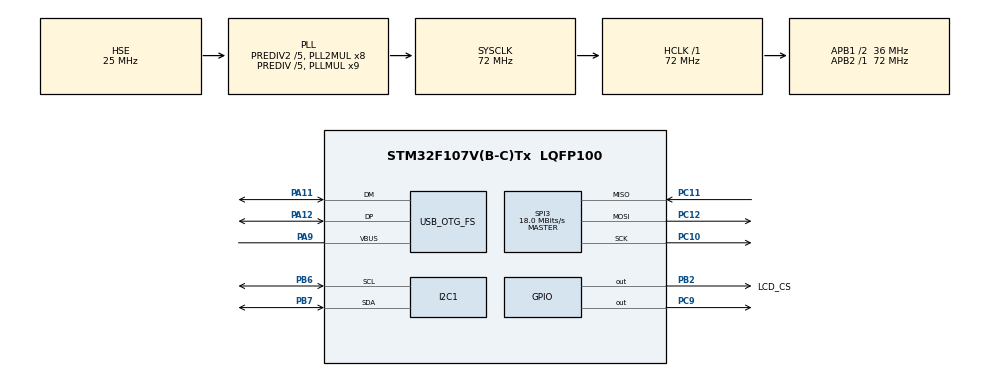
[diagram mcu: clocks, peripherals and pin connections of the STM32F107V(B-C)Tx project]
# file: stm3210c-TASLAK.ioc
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FATFS._MAX_SS=4096
I2C1.I2C_Mode=I2C_Standard
Mcu.Family=STM32F1
Mcu.Name=STM32F107V(B-C)Tx
Mcu.Package=LQFP100
NVIC.OTG_FS_IRQn=true\:0\:0\:false\:false\:true\:false\:true
NVIC.PriorityGroup=NVIC_PRIORITYGROUP_4
OSC_IN.Mode=HSE-External-Oscillator
OSC_IN.Signal=RCC_OSC_IN
OSC_OUT.Mode=HSE-External-Oscillator
OSC_OUT.Signal=RCC_OSC_OUT
PA11.Mode=Host_Only
PA11.Signal=USB_OTG_FS_DM
PA12.Mode=Host_Only
PA12.Signal=USB_OTG_FS_DP
PA13.Mode=Trace_Synchro_4bits_JTAG
PA13.Signal=SYS_JTMS-SWDIO
PA14.Mode=Trace_Synchro_4bits_JTAG
PA14.Signal=SYS_JTCK-SWCLK
PA15.Mode=Trace_Synchro_4bits_JTAG
PA15.Signal=SYS_JTDI
PA9.Mode=Activate_VBUS
PA9.Signal=USB_OTG_FS_VBUS
PB2.GPIO_Label=LCD_CS
PB2.Signal=GPIO_Output
PB3.Mode=Trace_Synchro_4bits_JTAG
PB3.Signal=SYS_JTDO
PB6.Mode=I2C
PB6.Signal=I2C1_SCL
PB7.Mode=I2C
PB7.Signal=I2C1_SDA
PC10.Mode=Full_Duplex_Master
PC10.Signal=SPI3_SCK
PC11.Mode=Full_Duplex_Master
PC11.Signal=SPI3_MISO
PC12.Mode=Full_Duplex_Master
PC12.Signal=SPI3_MOSI
PC9.Signal=GPIO_Output
PE2.Mode=Trace_Synchro_4bits_JTAG
PE2.Signal=SYS_TRACECLK
PE3.Mode=Trace_Synchro_4bits_JTAG
PE3.Signal=SYS_TRACED0
PE4.Mode=Trace_Synchro_4bits_JTAG
PE4.Signal=SYS_TRACED1
PE5.Mode=Trace_Synchro_4bits_JTAG
PE5.Signal=SYS_TRACED2
PE6.Mode=Trace_Synchro_4bits_JTAG
PE6.Signal=SYS_TRACED3
ProjectManager.HeapSize=0x200
ProjectManager.StackSize=0x400
ProjectManager.TargetToolchain=STM32CubeIDE
RCC.AHBFreq_Value=72000000
RCC.APB1CLKDivider=RCC_HCLK_DIV2
RCC.APB1Freq_Value=36000000
RCC.APB1TimFreq_Value=72000000
RCC.APB2Freq_Value=72000000
RCC.APB2TimFreq_Value=72000000
RCC.HCLKFreq_Value=72000000
RCC.HSEDivPLL=RCC_HSE_PREDIV_DIV5
RCC.HSE_VALUE=25000000
RCC.PLLMUL=RCC_PLL_MUL9
RCC.PLLSourceVirtual=RCC_PLLSOURCE_HSE
RCC.Prediv1Source=RCC_PREDIV1_SOURCE_PLL2
RCC.Prediv2=RCC_HSE_PREDIV2_DIV5
RCC.SYSCLKFreq_VALUE=72000000
RCC.SYSCLKSource=RCC_SYSCLKSOURCE_PLLCLK
RCC.USBFreq_Value=48000000
SPI3.BaudRatePrescaler=SPI_BAUDRATEPRESCALER_2
SPI3.CalculateBaudRate=18.0 MBits/s
SPI3.Direction=SPI_DIRECTION_2LINES
SPI3.Mode=SPI_MODE_MASTER
SPI3.VirtualType=VM_MASTER
USB_HOST.BSP.number=1
USB_HOST.USBH_HandleTypeDef=hUsbHostFS
USB_HOST.VirtualModeFS=Msc
USB_HOST0.BSP.STBoard=false
USB_HOST0.BSP.api=Unknown
USB_HOST0.BSP.i2caddr=0
USB_HOST0.BSP.instance=PC9
USB_HOST0.BSP.ip=GPIO
USB_HOST0.BSP.mode=Output
USB_HOST0.BSP.name=Drive_VBUS_FS
USB_HOST0.BSP.solution=PC9
USB_OTG_FS.VirtualMode=Host_Only
VP_FATFS_VS_USB.Mode=USB
VP_USB_HOST_VS_USB_HOST_MSC_FS.Mode=MSC_FS
board=custom

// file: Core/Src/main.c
/* USER CODE BEGIN Header */
/**
 ******************************************************************************
 * @file           : main.c
 * @brief          : Main program body
 ******************************************************************************
 * @attention
 *
 * <h2><center>&copy; Copyright (c) 2021 STMicroelectronics.
 * All rights reserved.</center></h2>
 *
 * This software component is licensed by ST under BSD 3-Clause license,
 * the "License"; You may not use this file except in compliance with the
 * License. You may obtain a copy of the License at:
 *                        opensource.org/licenses/BSD-3-Clause
 *
 ******************************************************************************
 */
/* USER CODE END Header */
#include "main.h"
#include "fatfs.h"
#include "usb_host.h"
#include "stm32f1xx_hal.h"
#include "lcd.h"
#include "lcd_log.h"
#include "lcd_log_conf.h"
#include "usbh_core.h"
/* USER CODE BEGIN Includes */
#include <string.h>
#include <stdbool.h>
/* USER CODE END Includes */

I2C_HandleTypeDef hi2c1;
SPI_HandleTypeDef hspi3;

/* USER CODE BEGIN PV */
//uint16_t x, y;
JOYState_TypeDef JoyStick;
uint8_t status = 0;
uint8_t count_idle = 0;
uint8_t i = 1;
char i_str[100];
extern ApplicationTypeDef Appli_state;
//FATFS varibale
FATFS myUsbFatFS;
//USB Logical path
extern char USBHPath[4]; /* USBH logical drive path */

//File IO Variables
FIL myFile;
FRESULT res;
UINT byteswritten, bytesread;
char rwtext[100];  //Read/Write buf
FILE *fp;
TCHAR file_name[100];
/* USER CODE END PV */

void SystemClock_Config(void);
static void MX_GPIO_Init(void);
static void MX_I2C1_Init(void);
static void MX_SPI3_Init(void);
void MX_USB_HOST_Process(void);

/* USER CODE BEGIN PFP */
static void USB_InitApplication(void);
void Application_State_Check(void);
void MSC_MenuProcess(void);
bool UsbTest_Write(void);
bool UsbTest_Read(void);
/* USER CODE END PFP */

int main(void)
{

  /* MCU Configuration--------------------------------------------------------*/

  /* Reset of all peripherals, Initializes the Flash interface and the Systick. */
  HAL_Init();

  /* Configure the system clock */
  SystemClock_Config();

  /* Initialize all configured peripherals */
  MX_GPIO_Init();
  MX_I2C1_Init();
  MX_SPI3_Init();
  MX_FATFS_Init();
  MX_USB_HOST_Init();
  /* USER CODE BEGIN 2 */
  USB_InitApplication();

  /* USER CODE END 2 */

  /* Infinite loop */
	while (1) {
    MX_USB_HOST_Process();

    /* USER CODE BEGIN 3 */
    Application_State_Check();
	}
  /* USER CODE END 3 */
}

void SystemClock_Config(void)
{
  RCC_OscInitTypeDef RCC_OscInitStruct = {0};
  RCC_ClkInitTypeDef RCC_ClkInitStruct = {0};
  RCC_PeriphCLKInitTypeDef PeriphClkInit = {0};

  /** Initializes the RCC Oscillators according to the specified parameters
  * in the RCC_OscInitTypeDef structure.
  */
  RCC_OscInitStruct.OscillatorType = RCC_OSCILLATORTYPE_HSE;
  RCC_OscInitStruct.HSEState = RCC_HSE_ON;
  RCC_OscInitStruct.HSEPredivValue = RCC_HSE_PREDIV_DIV5;
  RCC_OscInitStruct.HSIState = RCC_HSI_ON;
  RCC_OscInitStruct.Prediv1Source = RCC_PREDIV1_SOURCE_PLL2;
  RCC_OscInitStruct.PLL.PLLState = RCC_PLL_ON;
  RCC_OscInitStruct.PLL.PLLSource = RCC_PLLSOURCE_HSE;
  RCC_OscInitStruct.PLL.PLLMUL = RCC_PLL_MUL9;
  RCC_OscInitStruct.PLL2.PLL2State = RCC_PLL2_ON;
  RCC_OscInitStruct.PLL2.PLL2MUL = RCC_PLL2_MUL8;
  RCC_OscInitStruct.PLL2.HSEPrediv2Value = RCC_HSE_PREDIV2_DIV5;
  if (HAL_RCC_OscConfig(&RCC_OscInitStruct) != HAL_OK)
  {
    Error_Handler();
  }
  /** Initializes the CPU, AHB and APB buses clocks
  */
  RCC_ClkInitStruct.ClockType = RCC_CLOCKTYPE_HCLK|RCC_CLOCKTYPE_SYSCLK
                              |RCC_CLOCKTYPE_PCLK1|RCC_CLOCKTYPE_PCLK2;
  RCC_ClkInitStruct.SYSCLKSource = RCC_SYSCLKSOURCE_PLLCLK;
  RCC_ClkInitStruct.AHBCLKDivider = RCC_SYSCLK_DIV1;
  RCC_ClkInitStruct.APB1CLKDivider = RCC_HCLK_DIV2;
  RCC_ClkInitStruct.APB2CLKDivider = RCC_HCLK_DIV1;

  if (HAL_RCC_ClockConfig(&RCC_ClkInitStruct, FLASH_LATENCY_2) != HAL_OK)
  {
    Error_Handler();
  }
  PeriphClkInit.PeriphClockSelection = RCC_PERIPHCLK_USB;
  PeriphClkInit.UsbClockSelection = RCC_USBCLKSOURCE_PLL_DIV3;
  if (HAL_RCCEx_PeriphCLKConfig(&PeriphClkInit) != HAL_OK)
  {
    Error_Handler();
  }
  /** Configure the Systick interrupt time
  */
  __HAL_RCC_PLLI2S_ENABLE();
}

static void MX_I2C1_Init(void)
{

  hi2c1.Instance = I2C1;
  hi2c1.Init.ClockSpeed = 100000;
  hi2c1.Init.DutyCycle = I2C_DUTYCYCLE_2;
  hi2c1.Init.OwnAddress1 = 0;
  hi2c1.Init.AddressingMode = I2C_ADDRESSINGMODE_7BIT;
  hi2c1.Init.DualAddressMode = I2C_DUALADDRESS_DISABLE;
  hi2c1.Init.OwnAddress2 = 0;
  hi2c1.Init.GeneralCallMode = I2C_GENERALCALL_DISABLE;
  hi2c1.Init.NoStretchMode = I2C_NOSTRETCH_DISABLE;
  if (HAL_I2C_Init(&hi2c1) != HAL_OK)
  {
    Error_Handler();
  }

}

static void MX_SPI3_Init(void)
{

  /* SPI3 parameter configuration*/
  hspi3.Instance = SPI3;
  hspi3.Init.Mode = SPI_MODE_MASTER;
  hspi3.Init.Direction = SPI_DIRECTION_2LINES;
  hspi3.Init.DataSize = SPI_DATASIZE_8BIT;
  hspi3.Init.CLKPolarity = SPI_POLARITY_LOW;
  hspi3.Init.CLKPhase = SPI_PHASE_1EDGE;
  hspi3.Init.NSS = SPI_NSS_SOFT;
  hspi3.Init.BaudRatePrescaler = SPI_BAUDRATEPRESCALER_2;
  hspi3.Init.FirstBit = SPI_FIRSTBIT_MSB;
  hspi3.Init.TIMode = SPI_TIMODE_DISABLE;
  hspi3.Init.CRCCalculation = SPI_CRCCALCULATION_DISABLE;
  hspi3.Init.CRCPolynomial = 10;
  if (HAL_SPI_Init(&hspi3) != HAL_OK)
  {
    Error_Handler();
  }

}

static void MX_GPIO_Init(void)
{
  GPIO_InitTypeDef GPIO_InitStruct = {0};

  /* GPIO Ports Clock Enable */
  __HAL_RCC_GPIOE_CLK_ENABLE();
  __HAL_RCC_GPIOB_CLK_ENABLE();
  __HAL_RCC_GPIOC_CLK_ENABLE();
  __HAL_RCC_GPIOA_CLK_ENABLE();

  /*Configure GPIO pin Output Level */
  HAL_GPIO_WritePin(LCD_CS_GPIO_Port, LCD_CS_Pin, GPIO_PIN_RESET);

  /*Configure GPIO pin Output Level */
  HAL_GPIO_WritePin(GPIOC, GPIO_PIN_9, GPIO_PIN_RESET);

  /*Configure GPIO pin : LCD_CS_Pin */
  GPIO_InitStruct.Pin = LCD_CS_Pin;
  GPIO_InitStruct.Mode = GPIO_MODE_OUTPUT_PP;
  GPIO_InitStruct.Pull = GPIO_NOPULL;
  GPIO_InitStruct.Speed = GPIO_SPEED_FREQ_LOW;
  HAL_GPIO_Init(LCD_CS_GPIO_Port, &GPIO_InitStruct);

  /*Configure GPIO pin : PC9 */
  GPIO_InitStruct.Pin = GPIO_PIN_9;
  GPIO_InitStruct.Mode = GPIO_MODE_OUTPUT_PP;
  GPIO_InitStruct.Pull = GPIO_NOPULL;
  GPIO_InitStruct.Speed = GPIO_SPEED_FREQ_LOW;
  HAL_GPIO_Init(GPIOC, &GPIO_InitStruct);

}

/* USER CODE BEGIN 4 */
static void USB_InitApplication(void)
{
  /* Configure KEY Button */
  BSP_PB_Init(BUTTON_KEY, BUTTON_MODE_GPIO);
  /* Configure Joystick in EXTI mode */
  BSP_JOY_Init(JOY_MODE_EXTI);

  /* Configure LED1, LED2, LED3 and LED4 */
  BSP_LED_Init(LED1);
  BSP_LED_Init(LED2);
  BSP_LED_Init(LED3);
  BSP_LED_Init(LED4);

  /* Initialize the LCD */
  BSP_LCD_Init();

  /* Initialize the LCD Log module */
  LCD_LOG_Init();

  LCD_LOG_SetHeader((uint8_t *) " USB Read/Write Application");

  LCD_UsrLog("USB Host library started.\n");

  /* Initialize menu and MSC process */
  USBH_UsrLog("Starting MSC Demo");
}

void Application_State_Check(void)
{
	switch(Appli_state)
	{
		case APPLICATION_IDLE:
			if(count_idle == 0)
			LCD_UsrLog("No USB Device detected.\n");
			count_idle = 1;
		    BSP_LCD_DisplayStringAtLine(17,
		                              (uint8_t *) "Please mount a USB Flash disk...");
		    BSP_LCD_SetTextColor(LCD_COLOR_RED);
			break;

		case APPLICATION_START:
			count_idle = 0;
			if(f_mount(&myUsbFatFS, (TCHAR const*)USBHPath, 0) == FR_OK) BSP_LED_On(LED1);
			break;

		case APPLICATION_READY:
			MSC_MenuProcess();
			break;

		case APPLICATION_DISCONNECT:
			BSP_LED_Off(LED1);
		    BSP_LCD_DisplayStringAtLine(17,
		                              (uint8_t *) "Please mount a USB Flash disk...");
		    BSP_LCD_SetTextColor(LCD_COLOR_RED);
			break;
	}
}

bool UsbTest_Write(void)
{
	//Open or Create file for writing
	strcpy(file_name,"TEST");
	sprintf(i_str, "%d", i);
	strcat(file_name,i_str);
	strcat(file_name,".TXT");
	if(f_open(&myFile,(TCHAR*)file_name,FA_WRITE | FA_CREATE_ALWAYS) != FR_OK)
	{
		return 0;
	}
	//Copy test Text to my temporary read/write buffer
	sprintf(rwtext, "TEST%d.TXT -> Bu bir test dosyasidir.",i);
	//Write to text file
	res = f_write(&myFile, (const void *)rwtext, strlen(rwtext), &byteswritten);
	if((res != FR_OK) || (byteswritten == 0))
	{
		return 0;
	}
	f_close(&myFile);
	return 1; //Success
}

//2. USB test Read function
bool UsbTest_Read(void)
{
		strcpy(file_name,"TEST");
		sprintf(i_str, "%d", i);
		strcat(file_name,i_str);
		strcat(file_name,".TXT");
		//Open file for reading
		if(f_open(&myFile, (TCHAR*)file_name, FA_READ) != FR_OK)
		{
			return 0;
		}

		//Read text from files until NULL
		for(uint8_t i=0; i<100; i++)
		{
			res = f_read(&myFile, (uint8_t*)&rwtext[i], 1, &bytesread);
			if(rwtext[i] == 0x00) // NULL string
			{
				bytesread = i;
				break;
			}
		}
		LCD_UsrLog((const void *)rwtext);
		LCD_UsrLog("\n");
		i++;
		//Reading error handling
		if(bytesread==0) return 0;

		//Close file
		f_close(&myFile);
	return 1;  // success

}

void Error_Handler(void)
{
	__disable_irq();
	while (1) {
	}
}

/************************ (C) COPYRIGHT STMicroelectronics *****END OF FILE****/
